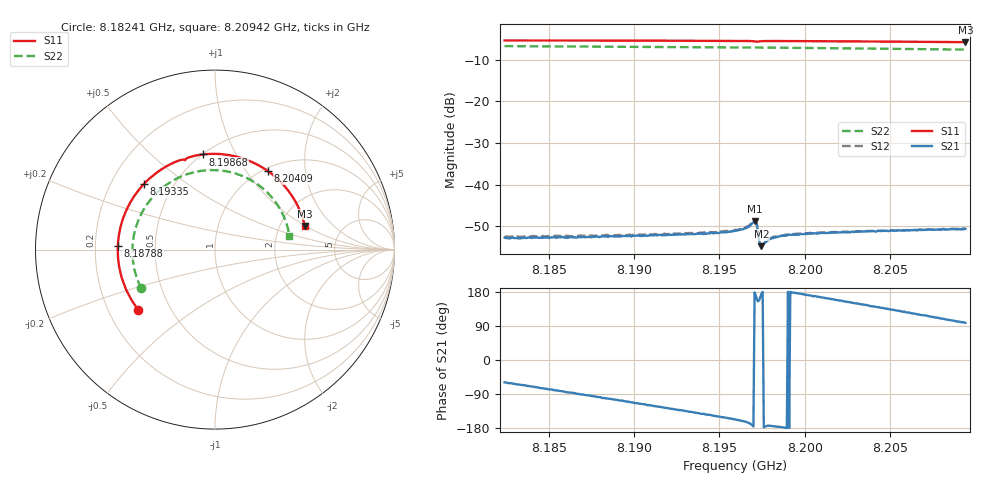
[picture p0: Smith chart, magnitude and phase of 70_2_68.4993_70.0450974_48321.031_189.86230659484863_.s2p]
#  HZ  S  RI  R  50.00
! Rohde & Schwarz Vector Network Analyzer
! Rohde-Schwarz,ZNB20-2Port,1311601062101988,3.16
! Created: UTC 3/20/2024, 5:06:51 PM
! freq[Hz]  re:S11  im:S11  re:S21  im:S21  re:S12  im:S12  re:S22  im:S22
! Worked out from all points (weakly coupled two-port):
!   401 points, 8.18241 GHz to 8.20942 GHz, reference 50 ohm
!   highest |S21| = -48.75 dB at 8.19706 GHz (marker M1); lowest = -54.8 dB at 8.19747 GHz (marker M2)
!   lowest |S11| = -5.7 dB at 8.20942 GHz (marker M3), VSWR 3.15, Z = 137 + j49.3 ohm
!   |S11| at or under -10 dB: nowhere
!   |S22| runs from -7.5 to -6.7 dB; largest |S21 - S12| = 0.00019
!   S11 on the Smith chart (normalised r, x): 8.18241 GHz: 0.33, -0.31; 8.18788 GHz: 0.30, +0.02; 8.19335 GHz: 0.34, +0.35; 8.19868 GHz: 0.50, +0.74; 8.20409 GHz: 1.04, +1.27; 8.20942 GHz: 2.75, +0.99
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8.182409e9  -0.4266 -0.3364  0.00118 -0.00197  0.00118 -0.00202  -0.4109 -0.2164
8.18484e9  -0.5087 -0.1892  0.000557 -0.00223  0.000559 -0.00231  -0.4535 -0.0882
8.186933e9  -0.5401 -0.0471  -3.01e-05 -0.00232  -7.3e-05 -0.00241  -0.459 0.0279
8.187879e9  -0.5415 0.019  -0.000316 -0.00234  -0.000387 -0.00242  -0.452 0.0799
8.189702e9  -0.5212 0.1446  -0.000859 -0.00224  -0.000916 -0.00232  -0.4214 0.1765
8.191458e9  -0.4744 0.2582  -0.00137 -0.00207  -0.00143 -0.00206  -0.3725 0.2608
8.193349e9  -0.3962 0.3653  -0.00185 -0.00173  -0.00196 -0.00172  -0.301 0.3378
8.195915e9  -0.2523 0.474  -0.00254 -0.00109  -0.00266 -0.00101  -0.1782 0.4116
8.196523e9  -0.2123 0.492  -0.00285 -0.000889  -0.00294 -0.000814  -0.1459 0.423
8.197063e9  -0.1722 0.5009  -0.00365 9.58e-05  -0.00368 0.000231  -0.1165 0.431
8.197131e9  -0.1682 0.4992  -0.00355 0.000615  -0.00359 0.000774  -0.1129 0.4318
8.197401e9  -0.1608 0.5061  -0.00178 0.000437  -0.0018 0.000506  -0.0981 0.435
8.197468e9  -0.1563 0.5092  -0.0018 0.000169  -0.00185 0.000256  -0.0944 0.4358
8.197536e9  -0.1515 0.5116  -0.00186 1.35e-05  -0.00189 9.73e-05  -0.0906 0.4365
8.198076e9  -0.1125 0.5228  -0.00227 -0.000218  -0.00228 -0.000156  -0.0603 0.4407
8.198684e9  -0.0695 0.5299  -0.00242 -0.000118  -0.00243 -2.18e-05  -0.026 0.4431
8.20044e9  0.0548 0.5298  -0.00252 0.000478  -0.00252 0.000601  0.0733 0.4344
8.202196e9  0.1751 0.5006  -0.00243 0.0011  -0.0024 0.00122  0.1687 0.4032
8.204086e9  0.2933 0.4385  -0.00213 0.00173  -0.00209 0.00182  0.2613 0.3455
8.204964e9  0.3421 0.3999  -0.00193 0.00199  -0.00186 0.00209  0.2988 0.3108
8.207328e9  0.447 0.2696  -0.00122 0.0026  -0.00116 0.00262  0.3778 0.197
8.209422e9  0.5011 0.1312  -0.000399 0.00289  -0.000346 0.00291  0.4144 0.0776
